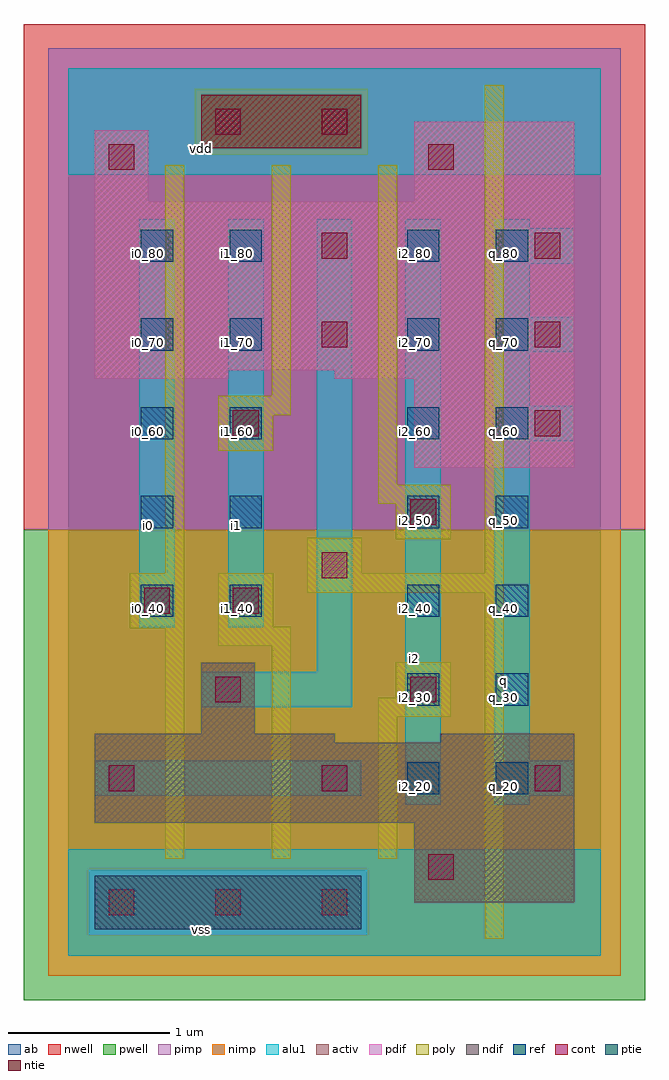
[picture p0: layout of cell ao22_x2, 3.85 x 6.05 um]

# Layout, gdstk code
import gdstk
lib = gdstk.Library(unit=1e-6, precision=2.5e-09)
def R(c, l, rs):  # rectangles x0, y0, x1, y1
    for r in rs: c.add(gdstk.rectangle(r[:2], r[2:], *l))
def A(c, l, x, y, w, h, nx, ny, dx, dy):  # array of equal rectangles
    R(c, l, [(x+i*dx, y+j*dy, x+i*dx+w, y+j*dy+h) for i in range(nx) for j in range(ny)])
ndif = (3, 0)
pdif = (4, 0)
ntie = (5, 0)
ptie = (6, 0)
ref = (24, 0)
cont = (25, 0)
pwell = (41, 0)
nwell = (42, 0)
activ = (43, 0)
pimp = (44, 0)
nimp = (45, 0)
poly = (46, 0)
alu1 = (49, 0)
ab = (63, 0)

ao22_x2 = lib.new_cell('ao22_x2')
R(ao22_x2, ndif, [(2.145,0.33,3.135,0.825), (0.165,0.825,3.135,1.32), (0.165,1.32,1.65,1.375), (2.31,1.32,3.135,1.375), (0.825,1.375,1.155,1.815)])
R(ao22_x2, pdif, [(2.145,3.025,3.135,3.575), (0.165,3.575,0.99,3.63), (1.65,3.575,3.135,3.63), (0.165,3.63,3.135,4.675), (0.165,4.675,0.495,5.115), (2.145,4.675,3.135,5.17)])
R(ao22_x2, ntie, [(0.825,5.005,1.815,5.335)])
R(ao22_x2, ptie, [(0.165,0.165,1.815,0.495)])
A(ao22_x2, ref, 2.1, 1, 0.2, 0.2, 1, 7, 0, 0.55)
A(ao22_x2, ref, 2.65, 1, 0.2, 0.2, 1, 7, 0, 0.55)
A(ao22_x2, ref, 0.45, 2.1, 0.2, 0.2, 1, 5, 0, 0.55)
A(ao22_x2, ref, 1, 2.1, 0.2, 0.2, 1, 5, 0, 0.55)
A(ao22_x2, cont, 0.25, 0.25, 0.16, 0.16, 3, 1, 0.66, 0)
A(ao22_x2, cont, 0.25, 1.02, 0.16, 0.16, 3, 1, 1.32, 0)
A(ao22_x2, cont, 2.89, 3.22, 0.16, 0.16, 1, 3, 0, 0.55)
R(ao22_x2, cont, [(2.23,0.47,2.39,0.63), (0.91,1.57,1.07,1.73), (2.12,1.57,2.28,1.73), (0.47,2.12,0.63,2.28), (1.02,2.12,1.18,2.28), (1.57,2.34,1.73,2.5), (2.12,2.67,2.28,2.83), (1.02,3.22,1.18,3.38), (1.57,3.77,1.73,3.93), (1.57,4.32,1.73,4.48), (0.25,4.87,0.41,5.03), (2.23,4.87,2.39,5.03), (0.91,5.09,1.07,5.25), (1.57,5.09,1.73,5.25)])
R(ao22_x2, pwell, [(-0.275,-0.275,3.575,2.64)])
R(ao22_x2, nwell, [(-0.275,2.64,3.575,5.775)])
R(ao22_x2, activ, [(0.165,0.165,1.815,0.495), (2.145,0.33,3.135,0.825), (0.165,0.825,3.135,1.32), (0.165,1.32,1.65,1.375), (2.31,1.32,3.135,1.375), (0.825,1.375,1.155,1.815), (2.145,3.025,3.135,3.575), (0.165,3.575,0.99,3.63), (1.65,3.575,3.135,3.63), (0.165,3.63,3.135,4.675), (0.165,4.675,0.495,5.115), (2.145,4.675,3.135,5.17), (0.825,5.005,1.815,5.335)])
R(ao22_x2, pimp, [(0.125,0.125,1.855,0.535), (-0.125,2.64,3.425,4.965), (-0.125,4.965,0.785,5.375), (1.855,4.965,3.425,5.375), (-0.125,5.375,3.425,5.625)])
R(ao22_x2, nimp, [(-0.125,-0.125,3.425,0.125), (-0.125,0.125,0.125,0.535), (1.855,0.125,3.425,0.535), (-0.125,0.535,3.425,2.64), (0.785,4.965,1.855,5.375)])
R(ao22_x2, poly, [(2.58,0.105,2.7,2.25), (0.6,0.6,0.72,2.03), (1.26,0.6,1.38,1.92), (1.92,0.6,2.04,1.48), (1.92,1.48,2.37,1.6), (2.03,1.6,2.37,1.82), (0.93,1.92,1.38,2.04), (0.38,2.03,0.72,2.37), (0.93,2.04,1.27,2.37), (1.48,2.25,2.7,2.37), (0.6,2.37,0.72,4.9), (1.48,2.37,1.82,2.59), (2.58,2.37,2.7,5.395), (2.03,2.58,2.37,2.8), (1.92,2.8,2.37,2.92), (1.92,2.92,2.04,4.9), (0.93,3.13,1.27,3.35), (0.93,3.35,1.38,3.47), (1.26,3.47,1.38,4.9)])
A(ao22_x2, alu1, 2.64, 3.19, 0.495, 0.22, 1, 3, 0, 0.55)
R(ao22_x2, alu1, [(0,0,3.3,0.66), (2.09,0.935,2.31,4.565), (2.64,0.935,2.86,0.99), (0.165,0.99,1.815,1.21), (2.64,0.99,3.135,1.21), (2.64,1.21,2.86,3.19), (0.825,1.54,1.76,1.76), (1.54,1.76,1.76,4.565), (0.44,2.035,0.66,4.565), (0.99,2.035,1.21,4.565), (2.64,3.41,2.86,3.74), (2.64,3.96,2.86,4.29), (2.64,4.51,2.86,4.565), (0,4.84,3.3,5.5)])
R(ao22_x2, ab, [(0,0,3.3,5.5)])
ao22_x2.add(gdstk.Label('vss', (0.825,0.165), layer=49, texttype=0))
ao22_x2.add(gdstk.Label('q', (2.695,1.705), layer=49, texttype=0))
ao22_x2.add(gdstk.Label('i2', (2.145,1.8425), layer=49, texttype=0))
ao22_x2.add(gdstk.Label('i1', (1.045,2.6675), layer=49, texttype=0))
ao22_x2.add(gdstk.Label('i0', (0.495,2.6675), layer=49, texttype=0))
ao22_x2.add(gdstk.Label('vdd', (0.825,5.005), layer=49, texttype=0))
ao22_x2.add(gdstk.Label('i2_20', (2.15,1.05), layer=24, texttype=0))
ao22_x2.add(gdstk.Label('q_20', (2.7,1.05), layer=24, texttype=0))
ao22_x2.add(gdstk.Label('q_30', (2.7,1.6), layer=24, texttype=0))
ao22_x2.add(gdstk.Label('q_40', (2.7,2.15), layer=24, texttype=0))
ao22_x2.add(gdstk.Label('q_50', (2.7,2.7), layer=24, texttype=0))
ao22_x2.add(gdstk.Label('q_60', (2.7,3.25), layer=24, texttype=0))
ao22_x2.add(gdstk.Label('q_70', (2.7,3.8), layer=24, texttype=0))
ao22_x2.add(gdstk.Label('q_80', (2.7,4.35), layer=24, texttype=0))
ao22_x2.add(gdstk.Label('i1_50', (1.05,2.7), layer=24, texttype=0))
ao22_x2.add(gdstk.Label('i1_40', (1.05,2.15), layer=24, texttype=0))
ao22_x2.add(gdstk.Label('i2_80', (2.15,4.35), layer=24, texttype=0))
ao22_x2.add(gdstk.Label('i2_70', (2.15,3.8), layer=24, texttype=0))
ao22_x2.add(gdstk.Label('i2_60', (2.15,3.25), layer=24, texttype=0))
ao22_x2.add(gdstk.Label('i2_50', (2.15,2.7), layer=24, texttype=0))
ao22_x2.add(gdstk.Label('i2_40', (2.15,2.15), layer=24, texttype=0))
ao22_x2.add(gdstk.Label('i2_30', (2.15,1.6), layer=24, texttype=0))
ao22_x2.add(gdstk.Label('i0_40', (0.5,2.15), layer=24, texttype=0))
ao22_x2.add(gdstk.Label('i0_50', (0.5,2.7), layer=24, texttype=0))
ao22_x2.add(gdstk.Label('i0_60', (0.5,3.25), layer=24, texttype=0))
ao22_x2.add(gdstk.Label('i0_70', (0.5,3.8), layer=24, texttype=0))
ao22_x2.add(gdstk.Label('i0_80', (0.5,4.35), layer=24, texttype=0))
ao22_x2.add(gdstk.Label('i1_80', (1.05,4.35), layer=24, texttype=0))
ao22_x2.add(gdstk.Label('i1_70', (1.05,3.8), layer=24, texttype=0))
ao22_x2.add(gdstk.Label('i1_60', (1.05,3.25), layer=24, texttype=0))

lib.write_gds('ao22_x2.gds')
